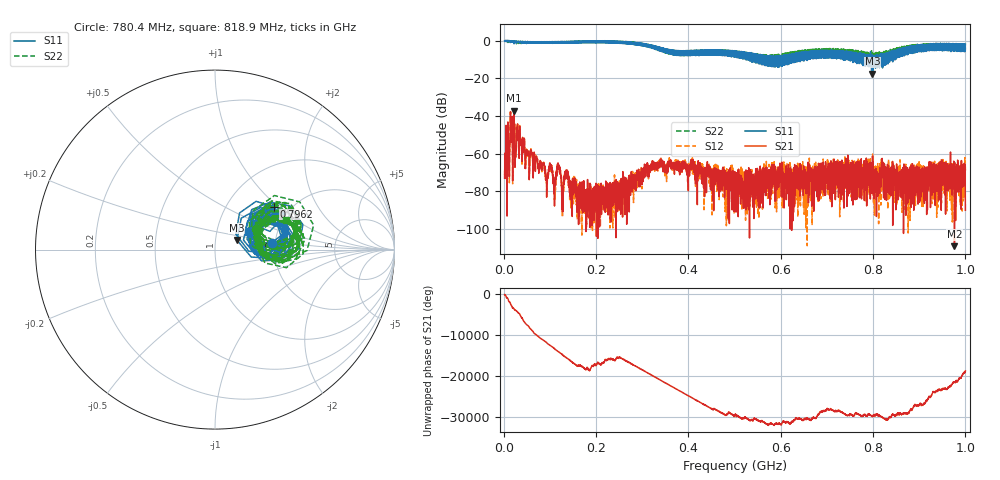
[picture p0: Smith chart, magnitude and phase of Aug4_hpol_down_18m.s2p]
!Keysight Technologies N9923A: A.12.45
!Date: Tuesday, 05 August 2025 18:20:20
!Timezone: (UTC+08:00) Kuala Lumpur, Singapore
!Model: N9923A
!Serial: MY61181427
!GPS Latitude:
!GPS Longitude:
!GPS TimeStamp: 0001-01-01 00:00:00Z
!GPS Seconds Since Last Read: 0
!CHECKSUM:0254974656
!Correction: S11(ON U)S21(ON U)S12(ON U)S22(ON U)
!S2P File: Measurements:S11,S21,S12,S22:
# Hz S DB R 50
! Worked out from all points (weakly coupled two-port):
!   4001 points, 2 MHz to 1 GHz, reference 50 ohm
!   highest |S21| = -37.09 dB at 22.46 MHz (marker M1); lowest = -109.0 dB at 976.3 MHz (marker M2)
!   lowest |S11| = -17.5 dB at 798.7 MHz (marker M3), VSWR 1.31, Z = 63.5 + j6.86 ohm
!   |S11| at or under -10 dB: 569.0663 MHz to 569.9232 MHz (857 kHz wide, 0.15 % of centre); 570.7722 MHz to 571.6143 MHz (842.1 kHz wide, 0.147 % of centre); 575.8133 MHz to 576.7025 MHz (889.1 kHz wide, 0.154 % of centre)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
!   |S22| runs from -14.0 to 0.1 dB; largest |S21 - S12| = 0.0015
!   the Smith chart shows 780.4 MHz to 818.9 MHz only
!   S11 on the Smith chart (normalised r, x): 780.4 MHz: 1.92, +0.17; 796.2 MHz: 1.65, +0.95; 818.9 MHz: 1.41, +0.28
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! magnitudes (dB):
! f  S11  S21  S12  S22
! 2 MHz  -0.1  -72.8  -71.5  -0.1
! 13.73 MHz  -0.4  -51.8  -51.7  -0.2
! 22.46 MHz  -1.6  -37.1  -37.1  -1.3
! 32.69 MHz  -0.8  -55.6  -56.0  -1.4
! 51.15 MHz  -1.1  -60.1  -59.6  -1.1
! 92.82 MHz  -1.4  -74.2  -76.3  -1.2
! 101.6 MHz  -1.2  -67.4  -67.1  -1.2
! 110.3 MHz  -0.7  -77.6  -84.5  -0.7
! 119 MHz  -0.6  -65.9  -66.2  -0.5
! 127 MHz  -0.8  -80.3  -83.6  -0.7
! 168.4 MHz  -1.2  -75.0  -78.1  -1.0
! 262.2 MHz  -1.4  -84.0  -77.6  -1.0
! 334.8 MHz  -4.2  -65.0  -67.0  -4.8
! 501 MHz  -6.2  -84.9  -81.8  -7.1
! 667.4 MHz  -8.8  -76.2  -70.0  -8.1
! 780.4 MHz  -9.9  -67.1  -77.6  -11.8
! 796.2 MHz  -7.8  -71.3  -66.7  -5.8
! 798.7 MHz  -17.5  -65.7  -72.4  -8.6
! 818.9 MHz  -13.7  -68.8  -64.9  -7.3
! 833.8 MHz  -9.0  -71.3  -75.2  -5.5
! 976.3 MHz  -1.7  -109.0  -67.1  -4.1
! 1 GHz  -1.8  -90.0  -69.1  -3.6
